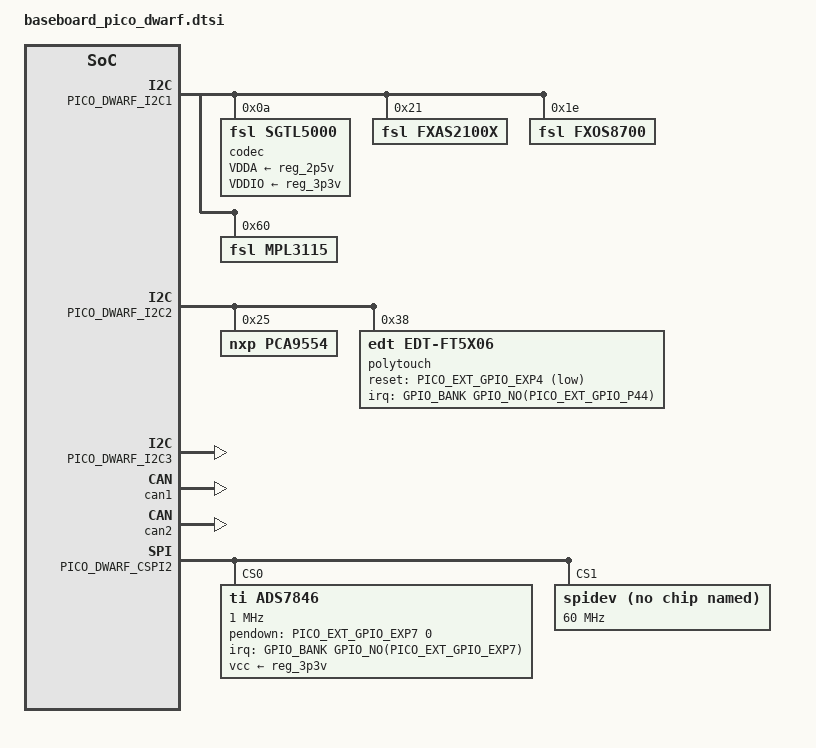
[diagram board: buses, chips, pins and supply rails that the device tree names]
/*
 * Copyright 2016 Technexion Ltd.
 *
 * Author: Wig Cheng <wig.cheng@technexion.com>
 *	   Richard Hu <richard.hu@technexion.com>
 *	   Tapani Utriainen <tapani@technexion.com>
 *
 * This program is free software; you can redistribute it and/or modify
 * it under the terms of the GNU General Public License version 2 as
 * published by the Free Software Foundation.
 *
 */

#include <tnmacro.h>

/ {
	gpio-edm {
		compatible = "gpio-edm";
/* custom GPIO may be from GPIO expander on CPU module */

#ifdef PICO_EXT_GPIO_IOMUX_DWARF
		pinctrl-names = "default";
		pinctrl-0 = <PICO_EXT_GPIO_IOMUX_DWARF>;
#endif

		gpio_exp0 {
			label = "GPIO_EXP0";
			gpios = <&PICO_EXT_GPIO_EXP0 1>;
			dir   = "in";
		};
		gpio_exp1 {
			label = "GPIO_EXP1";
			gpios = <&PICO_EXT_GPIO_EXP1 1>;
			dir   = "in";
		};
		gpio_exp2 {
			label = "GPIO_EXP2";
			gpios = <&PICO_EXT_GPIO_EXP2 1>;
			dir   = "in";
		};
		gpio_exp3 {
			label = "GPIO_EXP3";
			gpios = <&PICO_EXT_GPIO_EXP3 1>;
			dir   = "in";
		};
		gpio_exp5 {
			label = "GPIO_EXP5";
			gpios = <&PICO_EXT_GPIO_EXP5 1>;
			dir   = "in";
		};
	};

	sound {
		compatible = "fsl,imx-sgtl5000",
			     "fsl,imx-audio-sgtl5000";
		model = "audio-sgtl5000";
		ssi-controller = <&PICO_AUD_I2S_CHANNEL>;
		audio-codec = <&codec>;
		audio-routing =
			"MIC_IN", "Mic Jack",
			"Mic Jack", "Mic Bias",
			"Headphone Jack", "HP_OUT";
#if defined(PICO_AUD_MUX_INT) && defined(PICO_AUD_MUX_EXT)
		mux-int-port = <PICO_AUD_MUX_INT>;
		mux-ext-port = <PICO_AUD_MUX_EXT>;
#else
		fsl,no-audmux = "true";
#endif
	};
};

&PICO_DWARF_I2C1 {
	status = "okay";

	codec: sgtl5000@0a {
		compatible = "fsl,sgtl5000";
		reg = <0x0a>;
		clocks = <&PICO_AUD_CLK_SRC>;
		VDDA-supply = <&reg_2p5v>;
		VDDIO-supply = <&reg_3p3v>;
	};

	fxas2100x@21 {
		compatible = "fsl,fxas2100x";
		reg = <0x21>;
	};

	fxos8700@1e {
		compatible = "fsl,fxos8700";
		reg = <0x1e>;
	};

	mpl3115@60 {
		compatible = "fsl,mpl3115";
		reg = <0x60>;
	};
};

&PICO_DWARF_I2C2 {
	status = "okay";

	pca9554: pca9554@25 {
		compatible = "nxp,pca9554";
		gpio-controller;
		#gpio-cells = <2>;
		#interrupt-cells = <2>;
		reg = <0x25>;
	};
	polytouch: edt-ft5x06@38 {
		compatible = "edt,edt-ft5x06";
		reg = <0x38>;
#ifdef PICO_EXT_FT5X06_IOMUX_DWARF
		pinctrl-names = "default";
		pinctrl-0 = <PICO_EXT_FT5X06_IOMUX_DWARF>; /* Touch IRQ and Touch Reset */
#endif
		interrupt-parent = <&GPIO_BANK(PICO_EXT_GPIO_P44)>; /* GPIO_EXT6 */
		interrupts = <GPIO_NO(PICO_EXT_GPIO_P44) 0>;
		reset-gpios = <&PICO_EXT_GPIO_EXP4 GPIO_ACTIVE_LOW>; /* GPIO_EXT4 */
		touchscreen-size-x = <800>;
		touchscreen-size-y = <480>;
	};
};

&PICO_DWARF_I2C3 {
	status = "okay";
};

&can1 {
	status = "okay";
};

&can2 {
	status = "okay";
};

&PICO_DWARF_CSPI2 {
	status = "okay";

	ads7846@0 {
		reg = <0>;  /* CS0 */
		compatible = "ti,ads7846";
#ifdef PICO_EXT_ADS7846_IOMUX_DWARF
		pinctrl-names = "default";
		pinctrl-0 = <PICO_EXT_ADS7846_IOMUX_DWARF>;
#endif
		interrupt-parent = <&GPIO_BANK(PICO_EXT_GPIO_EXP7)>; /* GPIO_P263 J1B-263 */
		interrupts = <GPIO_NO(PICO_EXT_GPIO_EXP7) 0>;
		spi-max-frequency = <1000000>;
		pendown-gpio = <&PICO_EXT_GPIO_EXP7 0>; /* GPIO_P263 J1B-263 */
		vcc-supply = <&reg_3p3v>;

		ti,x-min = /bits/ 16 <0>;
		ti,x-max = /bits/ 16 <4095>;
		ti,y-min = /bits/ 16 <0>;
		ti,y-max = /bits/ 16 <4095>;
		ti,pressure-max = /bits/ 16 <1024>;
		ti,x-plate-ohms = /bits/ 16 <90>;
		ti,y-plate-ohms = /bits/ 16 <90>;
		ti,debounce-max = /bits/ 16 <70>;
		ti,debounce-tol = /bits/ 16 <3>;
		ti,debounce-rep = /bits/ 16 <2>;
		ti,settle-delay-usec = /bits/ 16 <150>;

		linux,wakeup;
	};
	spidev@1 {
		compatible = "rohm,dh2228fv";
		spi-max-frequency = <60000000>;
		reg = <1>;
	};
};
